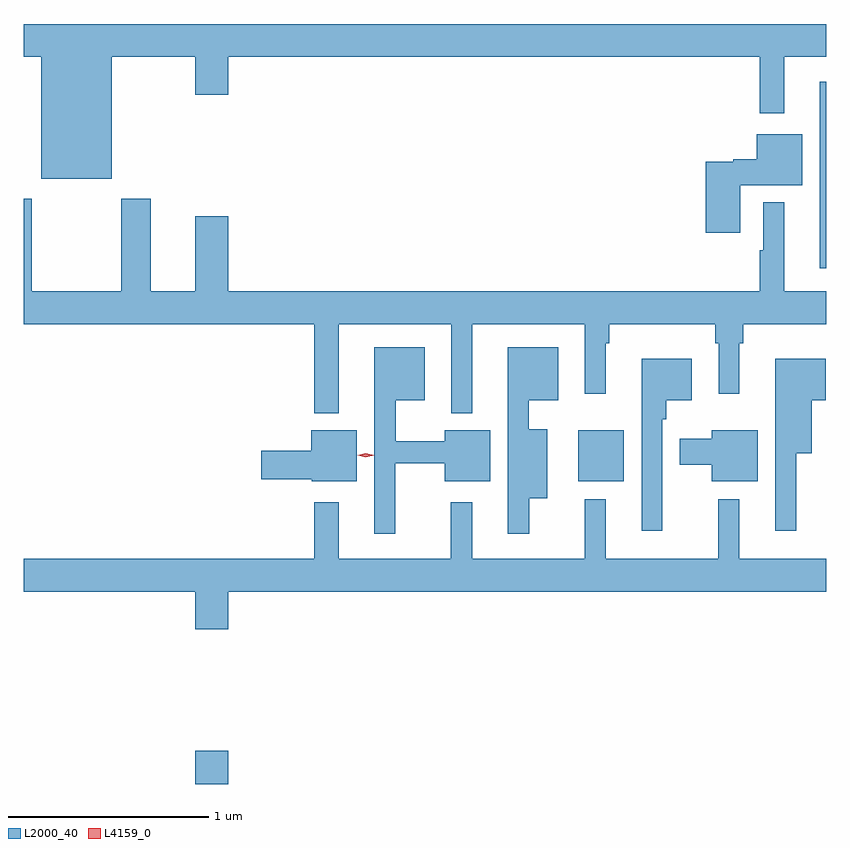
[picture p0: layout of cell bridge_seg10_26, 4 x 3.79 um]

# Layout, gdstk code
import gdstk
lib = gdstk.Library(unit=1e-6, precision=1e-09)
def R(c, l, rs):  # rectangles x0, y0, x1, y1
    for r in rs: c.add(gdstk.rectangle(r[:2], r[2:], *l))
def P(c, l, *ps):  # polygons
    for p in ps: c.add(gdstk.Polygon(p, *l))
L2000_40 = (2000, 40)
L4159_0 = (4159, 0)

bridge_seg10_26 = lib.new_cell('bridge_seg10_26')
R(bridge_seg10_26, L2000_40, [(956.216,1319.337,956.38,1319.503), (958.124,1320.845,958.351,1321.099), (959.327,1321.907,959.36,1322.836)])
P(bridge_seg10_26, L2000_40, [(955.798,1322.96),(956.216,1322.96),(956.216,1322.772),(956.38,1322.772),(956.38,1322.96),(959.028,1322.96),(959.028,1322.679),(959.149,1322.679),(959.149,1322.96),(959.36,1322.96),(959.36,1323.124),(955.36,1323.124),(955.36,1322.96),(955.448,1322.96),(955.448,1322.354),(955.798,1322.354)],
  [(958.93,1322.321),(959.239,1322.321),(959.239,1322.575),(959.012,1322.575),(959.012,1322.45),(958.896,1322.45),(958.896,1322.437),(958.76,1322.437),(958.76,1322.085),(958.93,1322.085)],
  [(956.929,1321.628),(957.491,1321.628),(957.491,1321.184),(957.595,1321.184),(957.595,1321.628),(958.157,1321.628),(958.157,1321.281),(958.261,1321.281),(958.261,1321.532),(958.279,1321.532),(958.279,1321.628),(958.806,1321.628),(958.806,1321.532),(958.823,1321.532),(958.823,1321.281),(958.927,1321.281),(958.927,1321.532),(958.945,1321.532),(958.945,1321.628),(959.36,1321.628),(959.36,1321.792),(959.149,1321.792),(959.149,1322.236),(959.045,1322.236),(959.045,1321.997),(959.028,1321.997),(959.028,1321.792),(956.38,1321.792),(956.38,1322.167),(956.216,1322.167),(956.216,1321.792),(955.993,1321.792),(955.993,1322.254),(955.846,1322.254),(955.846,1321.792),(955.401,1321.792),(955.401,1322.254),(955.36,1322.254),(955.36,1321.628),(956.808,1321.628),(956.808,1321.184),(956.929,1321.184)],
  [(957.88,1320.761),(957.97,1320.761),(957.97,1321.105),(957.877,1321.105),(957.877,1321.25),(958.024,1321.25),(958.024,1321.513),(957.773,1321.513),(957.773,1320.585),(957.88,1320.585)],
  [(957.211,1320.936),(957.458,1320.936),(957.458,1320.845),(957.685,1320.845),(957.685,1321.099),(957.458,1321.099),(957.458,1321.046),(957.214,1321.046),(957.214,1321.25),(957.358,1321.25),(957.358,1321.513),(957.107,1321.513),(957.107,1320.585),(957.211,1320.585)],
  [(958.543,1321.154),(958.561,1321.154),(958.561,1321.25),(958.69,1321.25),(958.69,1321.456),(958.439,1321.456),(958.439,1320.6),(958.543,1320.6)],
  [(959.209,1320.986),(959.287,1320.986),(959.287,1321.25),(959.356,1321.25),(959.356,1321.456),(959.105,1321.456),(959.105,1320.6),(959.209,1320.6)],
  [(959.017,1321.099),(958.79,1321.099),(958.79,1321.057),(958.629,1321.057),(958.629,1320.928),(958.79,1320.928),(958.79,1320.845),(959.017,1320.845)],
  [(957.019,1321.099),(956.792,1321.099),(956.792,1320.998),(956.544,1320.998),(956.544,1320.856),(956.796,1320.856),(956.796,1320.845),(957.019,1320.845)],
  [(956.38,1320.296),(959.36,1320.296),(959.36,1320.46),(958.927,1320.46),(958.927,1320.757),(958.821,1320.757),(958.821,1320.46),(958.261,1320.46),(958.261,1320.757),(958.155,1320.757),(958.155,1320.46),(957.595,1320.46),(957.595,1320.742),(957.489,1320.742),(957.489,1320.46),(956.929,1320.46),(956.929,1320.742),(956.808,1320.742),(956.808,1320.46),(955.36,1320.46),(955.36,1320.296),(956.216,1320.296),(956.216,1320.108),(956.38,1320.108)])
P(bridge_seg10_26, L4159_0, [(957.065,1320.964),(957.024,1320.974),(957.024,1320.974),(957.024,1320.974),(957.065,1320.984),(957.106,1320.975),(957.106,1320.975),(957.106,1320.975)])

lib.write_gds('bridge_seg10_26.gds')
